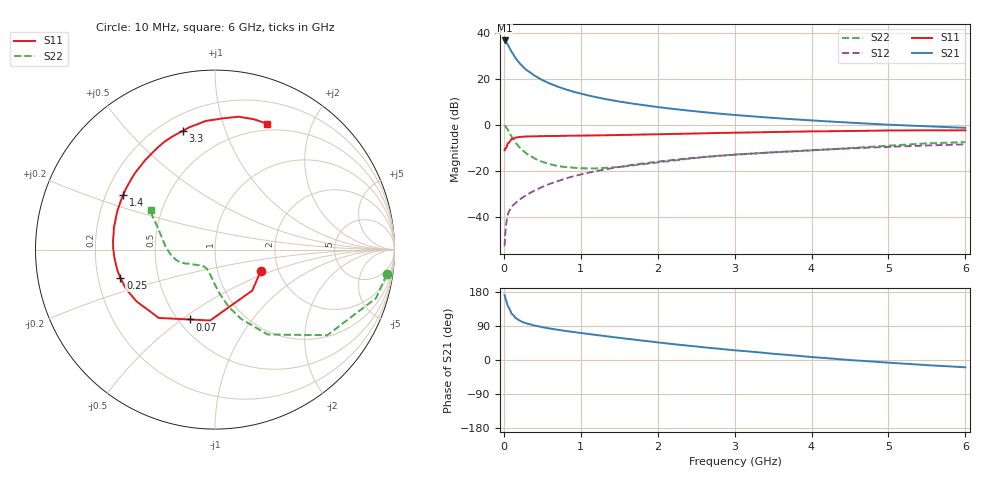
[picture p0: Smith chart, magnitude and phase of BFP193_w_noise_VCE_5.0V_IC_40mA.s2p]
! Infineon Technologies  Discrete & RF Semiconductors
! BFP193
! VCE =  5.0 V,  IC =  40 mA
! Common Emitter S-Parameters:  Jan 2017
# GHz  S  MA  R  50
!  f  S11  S21  S12  S22
! GHz  MAG  ANG  MAG  ANG  MAG  ANG  MAG  ANG
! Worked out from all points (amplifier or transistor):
!   77 points, 10 MHz to 6 GHz, reference 50 ohm
!   highest |S21| = 36.6 dB at 10 MHz (marker M1)
!   |S21| within 3 dB of that: start of sweep to 70.04 MHz
!   unconditionally stable (mu >= 1): 629.1 MHz to 2.419 GHz
!   at 130 MHz: K = 0.56, MSG = 32.4 dB, |S12| = -34.7 dB
!   at 2.2 GHz: K = 1.01, MAG = 10.5 dB, |S12| = -15.3 dB
!   at 6 GHz: K = 0.92, MSG = 3.6 dB, |S12| = -8.5 dB
!   lowest NFmin = 1.38 dB at 450 MHz
!   S11 on the Smith chart (normalised r, x): 10 MHz: 1.62, -0.42; 70 MHz: 0.57, -0.54; 250 MHz: 0.30, -0.13; 1.4 GHz: 0.27, +0.26; 3.3 GHz: 0.29, +0.72; 6 GHz: 0.43, +1.41
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0.01  0.2816 -25.1  67.99 171.2  0.0023 90.2  0.9666 -8.2
0.02  0.3085 -47.7  66.86 163.3  0.0046 83.2  0.9376 -16.7
0.05  0.3958 -93.9  55.45 142.8  0.0111 66.7  0.787 -37.3
0.07  0.4142 -110.0  48.15 136.3  0.0132 63.1  0.6846 -44.0
0.1  0.493 -129.4  38.86 122.4  0.0165 59.4  0.5561 -58.2
0.15  0.5241 -146.7  28.49 111.4  0.0198 56.8  0.4133 -69.3
0.2  0.5422 -156.2  22.25 104.6  0.0234 58.9  0.3281 -76.6
0.25  0.5503 -163.2  18.15 99.6  0.0267 60.4  0.2719 -81.3
0.3  0.5561 -168.0  15.28 96.2  0.0301 61.3  0.233 -85.6
0.4  0.5621 -175.2  11.64 90.7  0.0372 64.2  0.185 -91.6
0.5  0.5672 179.4  9.358 86.6  0.0445 66.3  0.157 -96.9
0.6  0.5704 175.0  7.851 83.0  0.0523 66.7  0.1391 -101.9
0.7  0.5717 171.3  6.737 79.9  0.0593 66.8  0.1266 -105.9
0.9  0.5777 164.1  5.256 74.0  0.0756 66.5  0.1167 -113.6
1.1  0.5858 157.8  4.334 68.7  0.0908 65.2  0.1129 -120.7
1.4  0.5945 149.3  3.43 61.0  0.1135 62.6  0.1182 -131.1
2.1  0.6265 130.4  2.318 44.3  0.1646 54.3  0.1587 -149.6
3.1  0.6766 109.0  1.585 24.0  0.229 41.7  0.2306 -167.7
3.3  0.6851 105.3  1.494 20.4  0.2404 39.4  0.2406 -171.3
4.1  0.7206 92.5  1.216 6.3  0.2853 30.1  0.2839 173.3
5.1  0.7524 78.6  0.988 -8.3  0.3361 18.6  0.3596 156.2
6  0.7585 67.5  0.858 -19.3  0.3758 8.5  0.4195 148.0
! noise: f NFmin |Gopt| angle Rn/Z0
0.45  1.38  0.38  -172  0.08
0.9  1.43  0.41  -167  0.08
1.9  2.05  0.59  -135  0.2
2.4  2.37  0.63  -120  0.42
